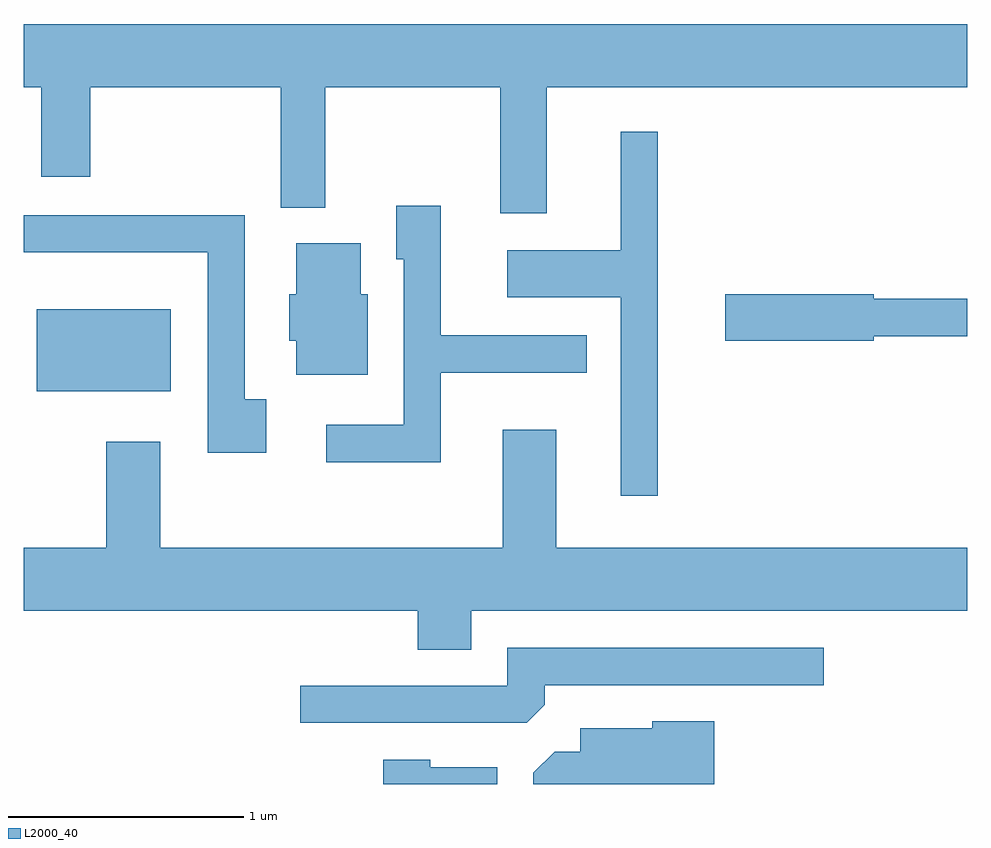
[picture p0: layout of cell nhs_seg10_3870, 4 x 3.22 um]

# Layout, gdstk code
import gdstk
lib = gdstk.Library(unit=1e-6, precision=1e-09)
def R(c, l, rs):  # rectangles x0, y0, x1, y1
    for r in rs: c.add(gdstk.rectangle(r[:2], r[2:], *l))
def P(c, l, *ps):  # polygons
    for p in ps: c.add(gdstk.Polygon(p, *l))
L2000_40 = (2000, 40)

nhs_seg10_3870 = lib.new_cell('nhs_seg10_3870')
R(nhs_seg10_3870, L2000_40, [(299.666,2108.186,300.234,2108.534)])
P(nhs_seg10_3870, L2000_40, [(301.829,2109.476),(303.611,2109.476),(303.611,2109.744),(299.611,2109.744),(299.611,2109.476),(299.686,2109.476),(299.686,2109.096),(299.894,2109.096),(299.894,2109.476),(300.701,2109.476),(300.701,2108.966),(300.889,2108.966),(300.889,2109.476),(301.631,2109.476),(301.631,2108.941),(301.829,2108.941)],
  [(302.299,2109.288),(302.141,2109.288),(302.141,2108.784),(301.661,2108.784),(301.661,2108.586),(302.141,2108.586),(302.141,2107.743),(302.299,2107.743)],
  [(301.379,2108.266),(301.998,2108.266),(301.998,2108.424),(301.379,2108.424),(301.379,2108.974),(301.191,2108.974),(301.191,2108.746),(301.221,2108.746),(301.221,2108.044),(300.893,2108.044),(300.893,2107.886),(301.379,2107.886)],
  [(300.639,2108.154),(300.549,2108.154),(300.549,2108.934),(299.611,2108.934),(299.611,2108.776),(300.391,2108.776),(300.391,2107.926),(300.639,2107.926)],
  [(301.069,2108.599),(301.039,2108.599),(301.039,2108.814),(300.766,2108.814),(300.766,2108.599),(300.736,2108.599),(300.736,2108.401),(300.766,2108.401),(300.766,2108.256),(301.069,2108.256)],
  [(303.214,2108.421),(303.611,2108.421),(303.611,2108.579),(303.214,2108.579),(303.214,2108.599),(302.586,2108.599),(302.586,2108.401),(303.214,2108.401)],
  [(301.509,2107.256),(303.611,2107.256),(303.611,2107.524),(301.869,2107.524),(301.869,2108.024),(301.641,2108.024),(301.641,2107.524),(300.189,2107.524),(300.189,2107.974),(299.961,2107.974),(299.961,2107.524),(299.611,2107.524),(299.611,2107.256),(301.281,2107.256),(301.281,2107.091),(301.509,2107.091)],
  [(301.819,2106.857),(301.819,2106.941),(303.003,2106.941),(303.003,2107.099),(301.661,2107.099),(301.661,2106.939),(300.783,2106.939),(300.783,2106.781),(301.744,2106.781)],
  [(302.539,2106.789),(302.276,2106.789),(302.276,2106.759),(301.971,2106.759),(301.971,2106.659),(301.862,2106.659),(301.771,2106.569),(301.771,2106.522),(302.539,2106.522)],
  [(301.619,2106.594),(301.334,2106.594),(301.334,2106.624),(301.136,2106.624),(301.136,2106.522),(301.619,2106.522)])

lib.write_gds('nhs_seg10_3870.gds')
